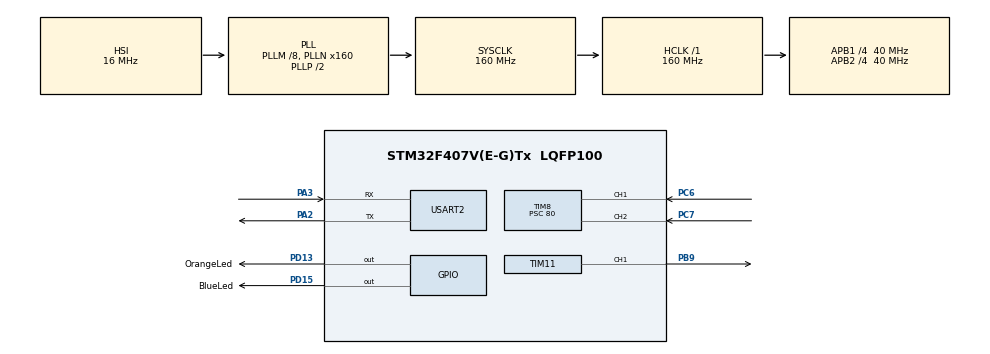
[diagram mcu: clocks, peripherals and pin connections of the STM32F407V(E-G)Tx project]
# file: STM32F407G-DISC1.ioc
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Mcu.Family=STM32F4
Mcu.Name=STM32F407V(E-G)Tx
Mcu.Package=LQFP100
NVIC.PriorityGroup=NVIC_PRIORITYGROUP_0
PA2.Mode=Asynchronous
PA2.Signal=USART2_TX
PA3.Mode=Asynchronous
PA3.Signal=USART2_RX
PB9.Signal=S_TIM11_CH1
PC6.Signal=S_TIM8_CH1
PC7.Signal=S_TIM8_CH2
PD13.GPIO_Label=OrangeLed
PD13.Signal=GPIO_Output
PD15.GPIO_Label=BlueLed
PD15.Signal=GPIO_Output
ProjectManager.HeapSize=0x200
ProjectManager.StackSize=0x400
ProjectManager.TargetToolchain=STM32CubeIDE
RCC.48MHZClocksFreq_Value=45714285.71428572
RCC.AHBFreq_Value=160000000
RCC.APB1CLKDivider=RCC_HCLK_DIV4
RCC.APB1Freq_Value=40000000
RCC.APB1TimFreq_Value=80000000
RCC.APB2CLKDivider=RCC_HCLK_DIV4
RCC.APB2Freq_Value=40000000
RCC.APB2TimFreq_Value=80000000
RCC.CortexFreq_Value=160000000
RCC.HCLKFreq_Value=160000000
RCC.HSE_VALUE=8000000
RCC.HSI_VALUE=16000000
RCC.PLLM=8
RCC.PLLN=160
RCC.PLLQ=7
RCC.SYSCLKFreq_VALUE=160000000
RCC.SYSCLKSource=RCC_SYSCLKSOURCE_PLLCLK
RCC.VCOOutputFreq_Value=320000000
SH.S_TIM11_CH1.0=TIM11_CH1,PWM Generation1 CH1
SH.S_TIM8_CH1.0=TIM8_CH1,Input_Capture1_from_TI1
SH.S_TIM8_CH2.0=TIM8_CH2,Input_Capture2_from_TI2
SH.S_TIM8_CH2.1=TIM8_CH2,TriggerSource_TI2FP2
TIM11.Channel=TIM_CHANNEL_1
TIM11.Period=39999
TIM11.Prescaler=199
TIM8.Channel-Input_Capture1_from_TI1=TIM_CHANNEL_1
TIM8.Channel-Input_Capture2_from_TI2=TIM_CHANNEL_2
TIM8.ICPolarity_CH1=TIM_INPUTCHANNELPOLARITY_BOTHEDGE
TIM8.ICPolarity_CH2=TIM_INPUTCHANNELPOLARITY_BOTHEDGE
TIM8.Prescaler=80
USART2.VirtualMode=VM_ASYNC
VP_TIM11_VS_ClockSourceINT.Mode=Enable_Timer
VP_TIM8_VS_ControllerModeReset.Mode=Reset Mode
board=STM32F407G-DISC1

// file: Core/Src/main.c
/* USER CODE BEGIN Header */
/**
  ******************************************************************************
  * @file           : main.c
  * @brief          : Main program body
  ******************************************************************************
  * @attention
  *
  * Copyright (c) 2025 STMicroelectronics.
  * All rights reserved.
  *
  * This software is licensed under terms that can be found in the LICENSE file
  * in the root directory of this software component.
  * If no LICENSE file comes with this software, it is provided AS-IS.
  *
  ******************************************************************************
  */
/* USER CODE END Header */
#include "main.h"
#include "tim.h"
#include "usart.h"
#include "gpio.h"

/* USER CODE BEGIN Includes */
#include "stdio.h"
/* USER CODE END Includes */

/* USER CODE BEGIN PV */
uint8_t txData[30];
uint8_t rxData[2];

uint32_t echo1, echo2, delay;
float dist1, dist2;
/* USER CODE END PV */

void SystemClock_Config(void);

int main(void)
{

  /* MCU Configuration--------------------------------------------------------*/

  /* Reset of all peripherals, Initializes the Flash interface and the Systick. */
  HAL_Init();

  /* Configure the system clock */
  SystemClock_Config();

  /* Initialize all configured peripherals */
  MX_GPIO_Init();
  MX_TIM8_Init();
  MX_TIM11_Init();
  MX_USART2_UART_Init();
  /* USER CODE BEGIN 2 */
  HAL_TIM_Base_Start(&htim11);
  HAL_TIM_Base_Start(&htim11);
  HAL_TIM_PWM_Start(&htim11, TIM_CHANNEL_1);
  HAL_TIM_IC_Start(&htim8, TIM_CHANNEL_1);
  HAL_TIM_IC_Start(&htim8, TIM_CHANNEL_2);
  TIM11->CCR1 = 3;
  /* USER CODE END 2 */

  /* Infinite loop */
  /* USER CODE BEGIN WHILE */
  while (1)
  {
	HAL_GPIO_TogglePin(BlueLed_GPIO_Port, BlueLed_Pin);
	if (HAL_GetTick() - delay >= 100){ // every 100 ms
		delay = HAL_GetTick();
		echo1 = HAL_TIM_ReadCapturedValue(&htim8, TIM_CHANNEL_1);
		echo2 = HAL_TIM_ReadCapturedValue(&htim8, TIM_CHANNEL_2);
		dist1 = echo1 / 58.0f;
		dist2 = echo2 / 58.0f;
	}
	snprintf((char*)txData, sizeof(txData), "%.2f,%.2f\r\n", dist1,dist2);
	HAL_UART_Transmit(&huart2, txData, sizeof(txData), 100);
	HAL_UART_Receive(&huart2, rxData, sizeof(rxData), 100);
	HAL_GPIO_TogglePin(OrangeLed_GPIO_Port, OrangeLed_Pin);
	HAL_Delay(150);
    /* USER CODE END WHILE */

  }
}

void SystemClock_Config(void)
{
  RCC_OscInitTypeDef RCC_OscInitStruct = {0};
  RCC_ClkInitTypeDef RCC_ClkInitStruct = {0};

  /** Configure the main internal regulator output voltage
  */
  __HAL_RCC_PWR_CLK_ENABLE();
  __HAL_PWR_VOLTAGESCALING_CONFIG(PWR_REGULATOR_VOLTAGE_SCALE1);

  /** Initializes the RCC Oscillators according to the specified parameters
  * in the RCC_OscInitTypeDef structure.
  */
  RCC_OscInitStruct.OscillatorType = RCC_OSCILLATORTYPE_HSI;
  RCC_OscInitStruct.HSIState = RCC_HSI_ON;
  RCC_OscInitStruct.HSICalibrationValue = RCC_HSICALIBRATION_DEFAULT;
  RCC_OscInitStruct.PLL.PLLState = RCC_PLL_ON;
  RCC_OscInitStruct.PLL.PLLSource = RCC_PLLSOURCE_HSI;
  RCC_OscInitStruct.PLL.PLLM = 8;
  RCC_OscInitStruct.PLL.PLLN = 160;
  RCC_OscInitStruct.PLL.PLLP = RCC_PLLP_DIV2;
  RCC_OscInitStruct.PLL.PLLQ = 7;
  if (HAL_RCC_OscConfig(&RCC_OscInitStruct) != HAL_OK)
  {
    Error_Handler();
  }

  /** Initializes the CPU, AHB and APB buses clocks
  */
  RCC_ClkInitStruct.ClockType = RCC_CLOCKTYPE_HCLK|RCC_CLOCKTYPE_SYSCLK
                              |RCC_CLOCKTYPE_PCLK1|RCC_CLOCKTYPE_PCLK2;
  RCC_ClkInitStruct.SYSCLKSource = RCC_SYSCLKSOURCE_PLLCLK;
  RCC_ClkInitStruct.AHBCLKDivider = RCC_SYSCLK_DIV1;
  RCC_ClkInitStruct.APB1CLKDivider = RCC_HCLK_DIV4;
  RCC_ClkInitStruct.APB2CLKDivider = RCC_HCLK_DIV4;

  if (HAL_RCC_ClockConfig(&RCC_ClkInitStruct, FLASH_LATENCY_5) != HAL_OK)
  {
    Error_Handler();
  }
}

void Error_Handler(void)
{
  __disable_irq();
  while (1)
  {
  }
}
